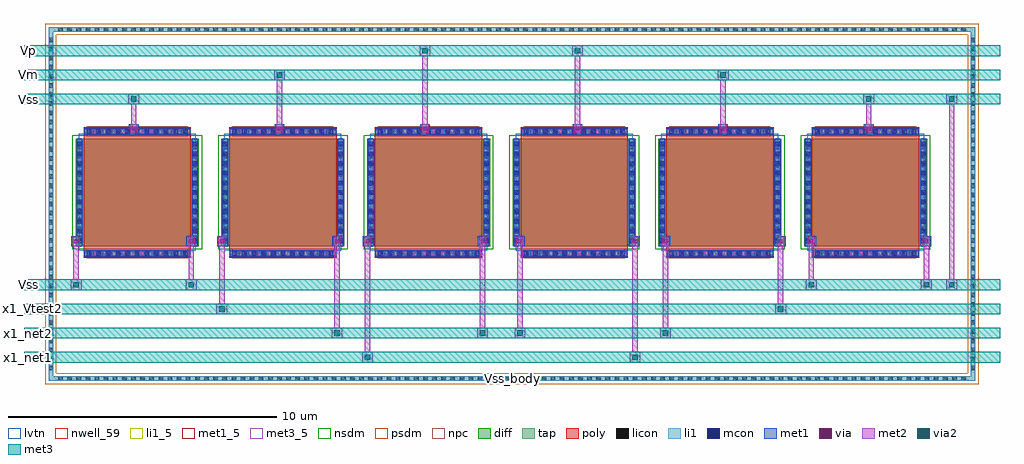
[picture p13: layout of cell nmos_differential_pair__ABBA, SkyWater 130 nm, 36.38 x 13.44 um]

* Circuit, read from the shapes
.subckt nmos_differential_pair__ABBA Vm Vp Vss Vss_body x1_Vtest2 x1_net1 x1_net2
XM1 Vss Vss Vss Vss_body sky130_fd_pr__nfet_01v8_lvt w=4 l=4 m=2
XM2 x1_net2 Vm x1_Vtest2 Vss_body sky130_fd_pr__nfet_01v8_lvt w=4 l=4 m=2
XM3 x1_net2 Vp x1_net1 Vss_body sky130_fd_pr__nfet_01v8_lvt w=4 l=4 m=2
.ends

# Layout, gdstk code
from math import pi, radians
import gdstk
lib = gdstk.Library(unit=1e-6, precision=1e-09)
def R(c, l, rs):  # rectangles x0, y0, x1, y1
    for r in rs: c.add(gdstk.rectangle(r[:2], r[2:], *l))
def A(c, l, x, y, w, h, nx, ny, dx, dy):  # array of equal rectangles
    R(c, l, [(x+i*dx, y+j*dy, x+i*dx+w, y+j*dy+h) for i in range(nx) for j in range(ny)])
nwell_59 = (64, 59)
diff = (65, 20)
tap = (65, 44)
poly = (66, 20)
licon = (66, 44)
li1_5 = (67, 5)
li1 = (67, 20)
mcon = (67, 44)
met1_5 = (68, 5)
met1 = (68, 20)
via = (68, 44)
met2 = (69, 20)
via2 = (69, 44)
met3_5 = (70, 5)
met3 = (70, 20)
nsdm = (93, 44)
psdm = (94, 20)
npc = (95, 20)
lvtn = (125, 44)

sky130_fd_pr__nfet_01v8_ = lib.new_cell('sky130_fd_pr__nfet_01v8_lvt_SAUMT6')
R(sky130_fd_pr__nfet_01v8_, diff, [(-2.29,-2,2.29,2)])
R(sky130_fd_pr__nfet_01v8_, poly, [(-2,-2.44,2,2.44)])
A(sky130_fd_pr__nfet_01v8_, licon, -1.785, -2.36, 0.17, 0.17, 11, 2, 0.34, 4.55)
A(sky130_fd_pr__nfet_01v8_, licon, -2.23, -1.785, 0.17, 0.17, 1, 11, 0, 0.34)
A(sky130_fd_pr__nfet_01v8_, licon, 2.06, -1.785, 0.17, 0.17, 1, 11, 0, 0.34)
R(sky130_fd_pr__nfet_01v8_, li1, [(-2,-2.36,2,-2.19), (-2.23,-2.02,-2.06,2.02), (2.06,-2.02,2.23,2.02), (-2,2.19,2,2.36)])
A(sky130_fd_pr__nfet_01v8_, mcon, -1.885, -2.36, 0.17, 0.17, 11, 2, 0.36, 4.55)
A(sky130_fd_pr__nfet_01v8_, mcon, -2.23, -1.885, 0.17, 0.17, 1, 11, 0, 0.36)
A(sky130_fd_pr__nfet_01v8_, mcon, 2.06, -1.885, 0.17, 0.17, 1, 11, 0, 0.36)
R(sky130_fd_pr__nfet_01v8_, met1, [(-1.98,-2.39,1.98,-2.16), (-2.26,-2,-2.03,2), (2.03,-2,2.26,2), (-1.98,2.16,1.98,2.39)])
R(sky130_fd_pr__nfet_01v8_, nsdm, [(-2.415,-2.125,2.415,2.125)])
R(sky130_fd_pr__nfet_01v8_, npc, [(-1.885,-2.46,1.885,-2.09), (-1.885,2.09,1.885,2.46)])
R(sky130_fd_pr__nfet_01v8_, lvtn, [(-2.18,-2.18,2.18,2.18)])
sky130_fd_pr__nfet_01v8_.add(gdstk.Label('D', (-2.145,0), layer=67, texttype=5))
sky130_fd_pr__nfet_01v8_.add(gdstk.Label('S', (2.145,0), layer=67, texttype=5))
sky130_fd_pr__nfet_01v8_.add(gdstk.Label('G', (0,2.275), layer=67, texttype=5))

nfet_01v8_lvt_w4_l4_m2__ = lib.new_cell('nfet_01v8_lvt_W4_L4_m2__nf1_gboth_sdfull_ng')
R(nfet_01v8_lvt_w4_l4_m2__, nwell_59, [(0.05,2.39,0.15,2.49)])
R(nfet_01v8_lvt_w4_l4_m2__, met1_5, [(0.03,2.44,0.26,2.64), (4.32,2.44,4.55,2.64), (0.31,4.6,4.27,4.83)])
R(nfet_01v8_lvt_w4_l4_m2__, met1, [(0.03,2.44,0.26,2.64), (4.32,2.44,4.55,2.64), (0.31,4.6,4.27,4.83)])
nfet_01v8_lvt_w4_l4_m2__.add(gdstk.Reference(sky130_fd_pr__nfet_01v8_, (2.29,2.44)))
nfet_01v8_lvt_w4_l4_m2__.add(gdstk.Label('D', (0.145,2.54), layer=68, texttype=5))
nfet_01v8_lvt_w4_l4_m2__.add(gdstk.Label('S', (4.435,2.54), layer=68, texttype=5))
nfet_01v8_lvt_w4_l4_m2__.add(gdstk.Label('G', (2.29,4.715), layer=68, texttype=5))
nfet_01v8_lvt_w4_l4_m2__.add(gdstk.Label('B', (0.1,2.44), layer=64, texttype=59))

nmos_differential_pair__ = lib.new_cell('nmos_differential_pair__ABBA')
R(nmos_differential_pair__, tap, [(-0.885,-4.585,33.665,-4.415), (-0.885,-4.415,-0.715,8.435), (33.495,-4.415,33.665,8.435), (-0.885,8.435,33.665,8.605)])
A(nmos_differential_pair__, licon, -0.525, -4.585, 0.17, 0.17, 100, 2, 0.34, 13.02)
A(nmos_differential_pair__, licon, -0.885, -4.195, 0.17, 0.17, 1, 37, 0, 0.34)
A(nmos_differential_pair__, licon, 33.495, -4.195, 0.17, 0.17, 1, 37, 0, 0.34)
R(nmos_differential_pair__, li1_5, [(16.34,-4.55,16.44,-4.45)])
R(nmos_differential_pair__, li1, [(-0.885,-4.585,33.665,-4.415), (-0.885,-4.415,-0.715,8.435), (33.495,-4.415,33.665,8.435), (-0.885,8.435,33.665,8.605)])
A(nmos_differential_pair__, met1, 2.11, 4.63, 0.36, 0.36, 3, 1, 5.43, 0)
A(nmos_differential_pair__, met1, 18.65, 4.63, 0.36, 0.36, 3, 1, 5.43, 0)
R(nmos_differential_pair__, met1, [(-0.035,0.44,0.325,0.8), (4.255,0.44,4.615,0.8), (5.395,0.44,5.755,0.8), (9.685,0.44,10.045,0.8), (10.825,0.44,11.185,0.8), (15.115,0.44,15.475,0.8), (16.505,0.44,16.865,0.8), (20.795,0.44,21.155,0.8), (21.935,0.44,22.295,0.8), (26.225,0.44,26.585,0.8), (27.365,0.44,27.725,0.8), (31.655,0.44,32.015,0.8)])
A(nmos_differential_pair__, via, 2.215, 4.735, 0.15, 0.15, 3, 1, 5.43, 0)
A(nmos_differential_pair__, via, 18.755, 4.735, 0.15, 0.15, 3, 1, 5.43, 0)
R(nmos_differential_pair__, via, [(0.07,0.545,0.22,0.695), (4.36,0.545,4.51,0.695), (5.5,0.545,5.65,0.695), (9.79,0.545,9.94,0.695), (10.93,0.545,11.08,0.695), (15.22,0.545,15.37,0.695), (16.61,0.545,16.76,0.695), (20.9,0.545,21.05,0.695), (22.04,0.545,22.19,0.695), (26.33,0.545,26.48,0.695), (27.47,0.545,27.62,0.695), (31.76,0.545,31.91,0.695)])
A(nmos_differential_pair__, met2, 2.16, 4.65, 0.26, 0.32, 3, 1, 5.43, 0)
A(nmos_differential_pair__, met2, 18.7, 4.65, 0.26, 0.32, 3, 1, 5.43, 0)
R(nmos_differential_pair__, met2, [(10.805,-3.9,11.205,-3.5), (20.775,-3.9,21.175,-3.5), (10.905,-3.5,11.105,0.46), (20.875,-3.5,21.075,0.46), (9.665,-3,10.065,-2.6), (15.095,-3,15.495,-2.6), (16.485,-3,16.885,-2.6), (21.915,-3,22.315,-2.6), (9.765,-2.6,9.965,0.46), (15.195,-2.6,15.395,0.46), (16.585,-2.6,16.785,0.46), (22.015,-2.6,22.215,0.46), (5.375,-2.1,5.775,-1.7), (26.205,-2.1,26.605,-1.7), (5.475,-1.7,5.675,0.46), (26.305,-1.7,26.505,0.46), (-0.055,-1.2,0.345,-0.8), (4.235,-1.2,4.635,-0.8), (27.345,-1.2,27.745,-0.8), (31.635,-1.2,32.035,-0.8), (32.58,-1.2,32.98,-0.8), (0.045,-0.8,0.245,0.46), (4.335,-0.8,4.535,0.46), (27.445,-0.8,27.645,0.46), (31.735,-0.8,31.935,0.46), (32.68,-0.8,32.88,5.72), (0.015,0.46,0.275,0.78), (4.305,0.46,4.565,0.78), (5.445,0.46,5.705,0.78), (9.735,0.46,9.995,0.78), (10.875,0.46,11.135,0.78), (15.165,0.46,15.425,0.78), (16.555,0.46,16.815,0.78), (20.845,0.46,21.105,0.78), (21.985,0.46,22.245,0.78), (26.275,0.46,26.535,0.78), (27.415,0.46,27.675,0.78), (31.705,0.46,31.965,0.78), (2.19,4.97,2.39,5.72), (7.62,4.97,7.82,6.62), (13.05,4.97,13.25,7.52), (18.73,4.97,18.93,7.52), (24.16,4.97,24.36,6.62), (29.59,4.97,29.79,5.72), (2.09,5.72,2.49,6.12), (29.49,5.72,29.89,6.12), (32.58,5.72,32.98,6.12), (7.52,6.62,7.92,7.02), (24.06,6.62,24.46,7.02), (12.95,7.52,13.35,7.92), (18.63,7.52,19.03,7.92)])
R(nmos_differential_pair__, via2, [(10.905,-3.8,11.105,-3.6), (20.875,-3.8,21.075,-3.6), (9.765,-2.9,9.965,-2.7), (15.195,-2.9,15.395,-2.7), (16.585,-2.9,16.785,-2.7), (22.015,-2.9,22.215,-2.7), (5.475,-2,5.675,-1.8), (26.305,-2,26.505,-1.8), (0.045,-1.1,0.245,-0.9), (4.335,-1.1,4.535,-0.9), (27.445,-1.1,27.645,-0.9), (31.735,-1.1,31.935,-0.9), (32.68,-1.1,32.88,-0.9), (2.19,5.82,2.39,6.02), (29.59,5.82,29.79,6.02), (32.68,5.82,32.88,6.02), (7.62,6.72,7.82,6.92), (24.16,6.72,24.36,6.92), (13.05,7.62,13.25,7.82), (18.73,7.62,18.93,7.82)])
A(nmos_differential_pair__, met3_5, -1.7, -3.75, 0.1, 0.1, 1, 4, 0, 0.9)
A(nmos_differential_pair__, met3_5, -1.7, 5.87, 0.1, 0.1, 1, 3, 0, 0.9)
A(nmos_differential_pair__, met3, -1.8, -3.9, 36.38, 0.4, 1, 4, 0, 0.9)
A(nmos_differential_pair__, met3, -1.8, 5.72, 36.38, 0.4, 1, 3, 0, 0.9)
R(nmos_differential_pair__, psdm, [(-1.01,-4.71,33.79,-4.29), (-1.01,-4.29,-0.59,8.31), (33.37,-4.29,33.79,8.31), (-1.01,8.31,33.79,8.73)])
nmos_differential_pair__.add(gdstk.Reference(nfet_01v8_lvt_w4_l4_m2__, (0.13,0)))
nmos_differential_pair__.add(gdstk.Reference(nfet_01v8_lvt_w4_l4_m2__, (5.56,0)))
nmos_differential_pair__.add(gdstk.Reference(nfet_01v8_lvt_w4_l4_m2__, (10.99,0)))
nmos_differential_pair__.add(gdstk.Reference(nfet_01v8_lvt_w4_l4_m2__, (21,0), rotation=pi, x_reflection=True))
nmos_differential_pair__.add(gdstk.Reference(nfet_01v8_lvt_w4_l4_m2__, (26.43,0), rotation=pi, x_reflection=True))
nmos_differential_pair__.add(gdstk.Reference(nfet_01v8_lvt_w4_l4_m2__, (31.86,0), rotation=pi, x_reflection=True))
nmos_differential_pair__.add(gdstk.Label('Vss', (-1.65,5.92), layer=70, texttype=5))
nmos_differential_pair__.add(gdstk.Label('Vm', (-1.65,6.82), layer=70, texttype=5))
nmos_differential_pair__.add(gdstk.Label('Vp', (-1.65,7.72), layer=70, texttype=5))
nmos_differential_pair__.add(gdstk.Label('Vss', (-1.65,-1), layer=70, texttype=5))
nmos_differential_pair__.add(gdstk.Label('x1_Vtest2', (-1.65,-1.9), layer=70, texttype=5))
nmos_differential_pair__.add(gdstk.Label('x1_net2', (-1.65,-2.8), layer=70, texttype=5))
nmos_differential_pair__.add(gdstk.Label('x1_net1', (-1.65,-3.7), layer=70, texttype=5))
nmos_differential_pair__.add(gdstk.Label('Vss_body', (16.39,-4.5), layer=67, texttype=5))

lib.write_gds('nmos_differential_pair__ABBA.gds')
